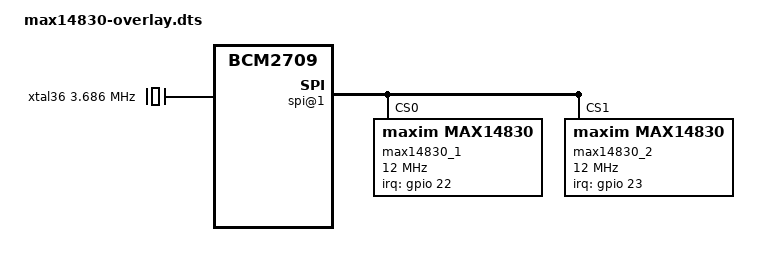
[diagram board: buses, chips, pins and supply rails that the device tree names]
/dts-v1/;
/plugin/;

/ {
	compatible = "brcm,bcm2835", "brcm,bcm2708", "brcm,bcm2709";

	clocks {
		xtal36: xtal36@7 {
			reg = <0x07>;
			compatible = "fixed-clock";
			#clock-cells = <0>;
			clock-frequency = < 0x384000 >;
			clock-output-names = "xtal36";
		};
	};

	spi@1 {
		spidev@0 {
			status = "disabled";
		};
		spidev@1 {
			status = "disabled";
		};

		max14830_1: max14830_1@0 {
			compatible = "maxim,max14830";
			reg = <0>; /* CE0 */
			clocks = <0xdb>;
			clock-names = "xtal";
			pinctrl-names = "default";
			pinctrl-0 = <&irq0_pin>;
			interrupt-parent = <&gpio>;
			interrupts = <22 0x2>; /* falling edge */
			spi-max-frequency = <12000000>;
			status = "okay";
		};

		max14830_2: max14830_2@0 {
			compatible = "maxim,max14830";
			reg = <1>; /* CE1 */
			clocks = <0xdb>;
			clock-names = "xtal";
			pinctrl-names = "default";
			pinctrl-0 = <&irq1_pin>;
			interrupt-parent = <&gpio>;
			interrupts = <23 0x2>; /* falling edge */
			spi-max-frequency = <12000000>;
			status = "okay";
		};
	};

	gpio {
		irq0_pin: irq0_pin {
			brcm,pins = <22>;
			brcm,function = <0>; /* in */
			brcm,pull = <0>; /* none */
		};
		irq1_pin: irq1_pin {
			brcm,pins = <23>;
			brcm,function = <0>; /* in */
			brcm,pull = <0>; /* none */
		};
	};
};
